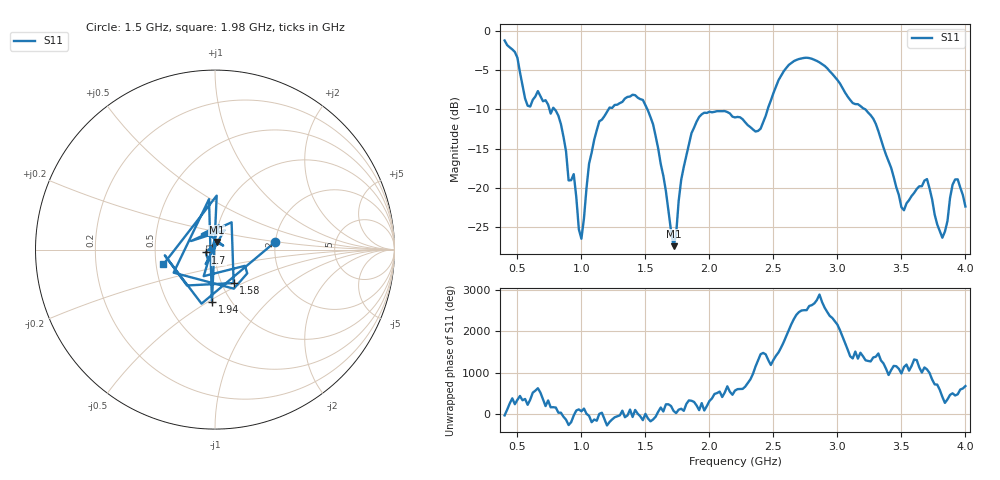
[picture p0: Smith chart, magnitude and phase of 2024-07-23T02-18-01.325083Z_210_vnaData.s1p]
!Created with skrf (http://scikit-rf.org).
# Hz S RI R 50.0
!freq ReS11 ImS11
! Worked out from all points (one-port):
!   181 points, 400 MHz to 4 GHz, reference 50 ohm
!   lowest |S11| = -27.4 dB at 1.72 GHz (marker M1), VSWR 1.09, Z = 50.7 + j4.25 ohm
!   |S11| at or under -10 dB: 790.6 MHz to 1.212 GHz (421.4 MHz wide, 42.1 % of centre); 1.515 GHz to 2.455 GHz (940.1 MHz wide, 47.4 % of centre); 3.217 GHz to end of sweep (the widest 3 of 4)
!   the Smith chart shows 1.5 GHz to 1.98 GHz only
!   S11 on the Smith chart (normalised r, x): 1.5 GHz: 1.99, +0.18; 1.58 GHz: 1.14, -0.45; 1.7 GHz: 0.90, -0.03; 1.94 GHz: 0.82, -0.52; 1.98 GHz: 0.55, -0.10
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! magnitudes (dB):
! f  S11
! 400 MHz  -1.3
! 580 MHz  -9.5
! 660 MHz  -7.7
! 860 MHz  -13.5
! 900 MHz  -19.0
! 940 MHz  -18.2
! 1 GHz  -26.4
! 1.06 GHz  -16.9
! 1.12 GHz  -12.7
! 1.3 GHz  -9.2
! 1.5 GHz  -9.5
! 1.58 GHz  -13.4
! 1.7 GHz  -25.4
! 1.72 GHz  -27.4
! 1.76 GHz  -21.6
! 1.94 GHz  -10.6
! 1.98 GHz  -10.5
! 2.2 GHz  -11.0
! 2.4 GHz  -12.5
! 2.66 GHz  -3.9
! 3.1 GHz  -8.8
! 3.28 GHz  -11.2
! 3.5 GHz  -22.4
! 3.56 GHz  -21.5
! 3.7 GHz  -18.9
! 3.82 GHz  -26.3
! 3.92 GHz  -18.9
! 4 GHz  -22.3
